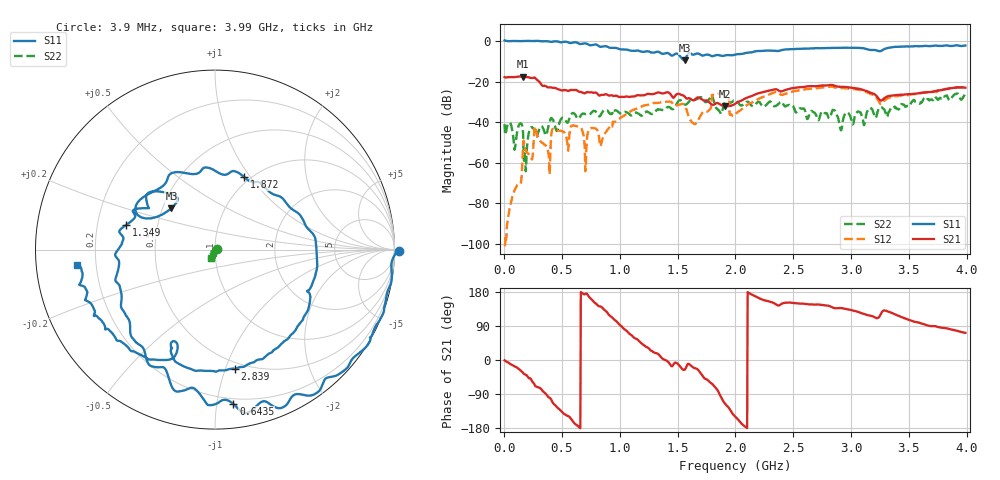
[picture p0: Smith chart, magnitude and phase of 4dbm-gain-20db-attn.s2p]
#  HZ  S  RI  R  50.00
! Rohde & Schwarz Vector Network Analyzer
! Rohde-Schwarz,ZNL20-2Port,1323001220101312,1.72.1.6-23.02.1.246
! Created: UTC 11/11/2024, 8:42:18 PM
! freq[Hz]  re:S11  im:S11  re:S21  im:S21  re:S12  im:S12  re:S22  im:S22
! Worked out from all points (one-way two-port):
!   1023 points, 3.9 MHz to 3.99 GHz, reference 50 ohm
!   highest |S21| = -17.53 dB at 163.8 MHz (marker M1); lowest = -32.1 dB at 1.907 GHz (marker M2)
!   lowest |S11| = -9.5 dB at 1.56 GHz (marker M3), VSWR 2.01, Z = 27.8 + j14.4 ohm
!   |S11| at or under -10 dB: nowhere
!   |S22| runs from -64.1 to -25.9 dB; largest |S21 - S12| = 0.13
!   S11 on the Smith chart (normalised r, x): 3.9 MHz: -71, -19; 643.5 MHz: 0.16, -1.11; 1.349 GHz: 0.33, +0.12; 1.872 GHz: 0.94, +0.93; 2.839 GHz: 0.44, -1.08; 3.99 GHz: 0.13, -0.06
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3900000  1.026 -0.00725  0.1283 -0.00221  3.67e-06 8.06e-06  0.00875 0.00179
1.326e8  0.9579 -0.2457  0.1199 -0.0568  -9.9e-05 0.00028  -0.0069 0.00569
1.638e8  0.9438 -0.3153  0.11 -0.0747  0.00152 -0.00219  -0.00358 0.00408
1.872e8  0.9383 -0.3527  0.1001 -0.0819  -0.00204 0.000184  -0.000541 0.000305
2.262e8  0.8977 -0.422  0.082 -0.0916  -0.000838 0.00119  -0.00328 0.00621
2.769e8  0.8635 -0.5096  0.0393 -0.1085  -0.00573 -0.00159  0.00424 0.000982
3.822e8  0.6808 -0.6995  -0.0096 -0.0712  -0.00159 0.000829  0.00394 0.00656
4.29e8  0.5899 -0.7741  -0.0308 -0.0628  -0.00668 -0.000716  0.00329 0.00983
6.435e8  0.1025 -0.8604  -0.0567 -0.00416  -0.00543 0.00559  0.0103 0.00665
6.708e8  0.0293 -0.8454  -0.0545 0.00227  -0.00217 0.00649  0.0141 0.00669
8.424e8  -0.2997 -0.6547  -0.036 0.0304  -0.000476 0.00317  0.0159 0.00357
1.3338e9  -0.5287 0.1105  0.052 0.0144  0.0223 -0.0197  0.00611 -0.0196
1.3494e9  -0.4937 0.1378  0.0518 0.00933  0.0222 -0.0208  0.00625 -0.0195
1.56e9  -0.2428 0.2304  0.0388 -0.0188  -0.003 -0.0263  -0.00777 -0.0263
1.6497e9  -0.2662 0.3892  0.0332 -0.0132  0.00181 -0.00879  -0.00895 -0.0344
1.872e9  0.1626 0.4037  -0.00266 -0.0267  -0.05 0.012  -0.0131 -0.0101
1.9071e9  0.2237 0.3765  -0.01 -0.0226  -0.0194 0.0418  0.00379 -0.0298
1.9968e9  0.3457 0.3009  -0.024 -0.0146  -0.0102 0.0115  -0.0108 -0.0337
2.6637e9  0.3099 -0.575  -0.0644 0.0426  -0.057 0.035  -0.00747 -0.017
2.8392e9  0.1115 -0.6642  -0.0619 0.054  -0.0582 0.0467  -0.0113 -0.0158
3.3267e9  -0.2839 -0.615  -0.0264 0.0351  -0.0279 0.0283  -0.00613 -0.0166
3.9897e9  -0.7679 -0.0875  0.0221 0.0672  0.0224 0.0673  -0.0219 -0.045
